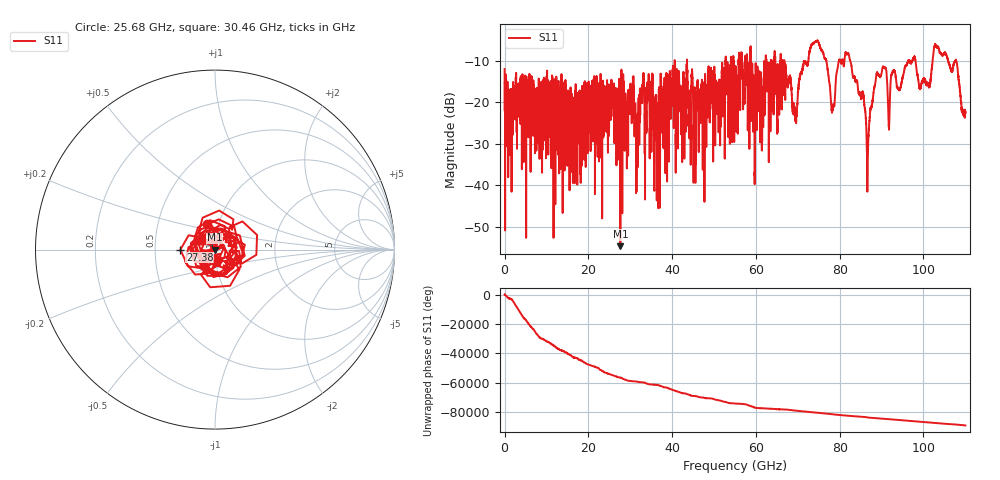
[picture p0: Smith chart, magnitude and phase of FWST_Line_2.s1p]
#  HZ  S  RI  R  50.00
! Rohde & Schwarz ZVA67 4Ports - Version 4.11 - 1305.7002k04 SN: 101032
! Date: 2026-02-18 15:13:39
! Measurement: a2d1/b2d1sam
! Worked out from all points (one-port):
!   5500 points, 20 MHz to 110 GHz, reference 50 ohm
!   lowest |S11| = -54.6 dB at 27.64 GHz (marker M1), VSWR 1.00, Z = 49.8 + j0.00906 ohm
!   |S11| at or under -10 dB: start of sweep to 40.6 GHz; 43.56 GHz to 52.72 GHz (9.155 GHz wide, 19 % of centre); 82.54 GHz to 96.37 GHz (13.83 GHz wide, 15.5 % of centre)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
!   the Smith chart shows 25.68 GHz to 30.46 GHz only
!   S11 on the Smith chart (normalised r, x): 25.68 GHz: 0.88, +0.25; 27.38 GHz: 0.68, -0.00; 30.46 GHz: 1.02, -0.14
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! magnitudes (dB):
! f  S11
! 20 MHz  -12.0
! 1.38 GHz  -28.4
! 13.78 GHz  -24.1
! 25.68 GHz  -16.6
! 27.38 GHz  -14.3
! 27.52 GHz  -20.0
! 27.64 GHz  -54.6
! 30.46 GHz  -23.3
! 31.44 GHz  -27.5
! 32.84 GHz  -18.3
! 36.66 GHz  -32.1
! 41.28 GHz  -24.8
! 45.5 GHz  -19.6
! 55.02 GHz  -15.6
! 66.82 GHz  -12.1
! 68.76 GHz  -20.7
! 73.86 GHz  -5.7
! 78.34 GHz  -21.1
! 79.76 GHz  -10.2
! 82.52 GHz  -10.0
! 86.7 GHz  -33.6
! 88.98 GHz  -12.8
! 91.82 GHz  -25.5
! 96.26 GHz  -10.3
! 101.1 GHz  -15.8
! 103.2 GHz  -6.8
! 107.7 GHz  -10.0
! 110 GHz  -22.6
